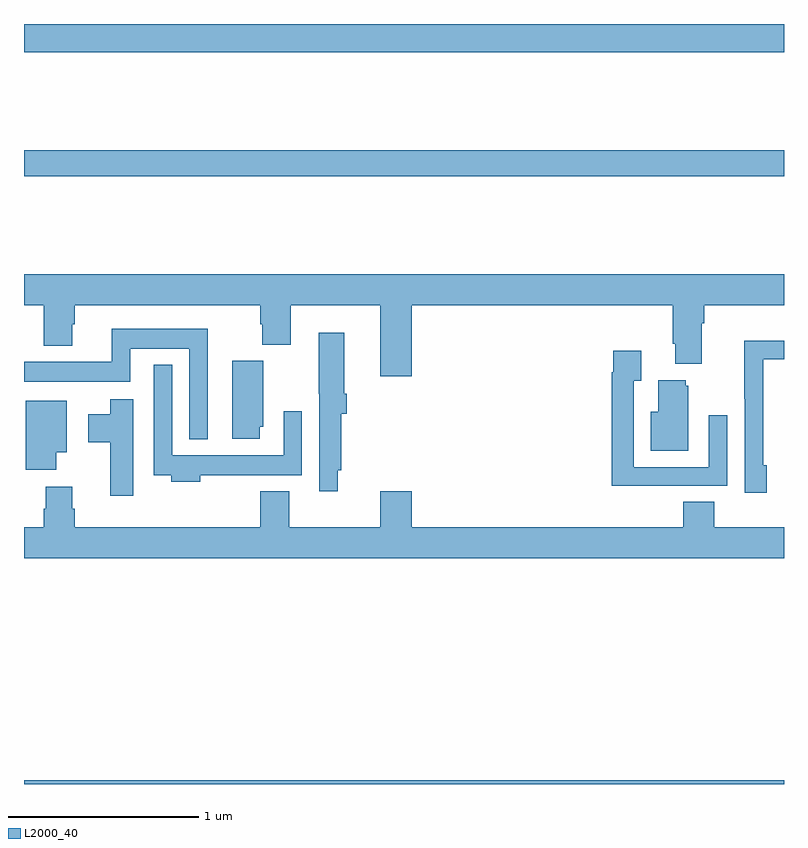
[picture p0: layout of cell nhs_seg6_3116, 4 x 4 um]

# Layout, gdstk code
import gdstk
lib = gdstk.Library(unit=1e-6, precision=1e-09)
def R(c, l, rs):  # rectangles x0, y0, x1, y1
    for r in rs: c.add(gdstk.rectangle(r[:2], r[2:], *l))
def P(c, l, *ps):  # polygons
    for p in ps: c.add(gdstk.Polygon(p, *l))
L2000_40 = (2000, 40)

nhs_seg6_3116 = lib.new_cell('nhs_seg6_3116')
R(nhs_seg6_3116, L2000_40, [(295,927.5,299,927.52), (295,930.7,299,930.836), (295,931.352,299,931.5)])
P(nhs_seg6_3116, L2000_40, [(295,930.02),(295.103,930.02),(295.103,929.807),(295.255,929.807),(295.255,929.919),(295.268,929.919),(295.268,930.02),(296.243,930.02),(296.243,929.921),(296.255,929.921),(296.255,929.812),(296.403,929.812),(296.403,930.02),(296.876,930.02),(296.876,929.646),(297.04,929.646),(297.04,930.02),(298.415,930.02),(298.415,929.818),(298.427,929.818),(298.427,929.711),(298.567,929.711),(298.567,929.924),(298.58,929.924),(298.58,930.02),(299,930.02),(299,930.184),(295,930.184)],
  [(295.966,929.896),(295.463,929.896),(295.463,929.722),(295,929.722),(295,929.618),(295.56,929.618),(295.56,929.792),(295.869,929.792),(295.869,929.315),(295.966,929.315)],
  [(296.652,929.152),(296.669,929.152),(296.669,929.45),(296.699,929.45),(296.699,929.554),(296.686,929.554),(296.686,929.875),(296.552,929.875),(296.552,929.554),(296.553,929.554),(296.553,929.04),(296.652,929.04)],
  [(298.909,929.178),(298.89,929.178),(298.89,929.736),(299,929.736),(299,929.834),(298.792,929.834),(298.792,929.527),(298.794,929.527),(298.794,929.034),(298.909,929.034)],
  [(298.385,929.07),(298.701,929.07),(298.701,929.44),(298.605,929.44),(298.605,929.166),(298.209,929.166),(298.209,929.623),(298.249,929.623),(298.249,929.779),(298.101,929.779),(298.101,929.666),(298.093,929.666),(298.093,929.069),(298.385,929.069)],
  [(296.242,929.379),(296.26,929.379),(296.26,929.727),(296.096,929.727),(296.096,929.316),(296.242,929.316)],
  [(295.928,929.124),(296.159,929.124),(296.159,929.126),(296.463,929.126),(296.463,929.461),(296.367,929.461),(296.367,929.23),(295.779,929.23),(295.779,929.707),(295.683,929.707),(295.683,929.124),(295.775,929.124),(295.775,929.09),(295.928,929.09)],
  [(298.495,929.595),(298.484,929.595),(298.484,929.626),(298.337,929.626),(298.337,929.458),(298.298,929.458),(298.298,929.255),(298.495,929.255)],
  [(295.576,929.524),(295.454,929.524),(295.454,929.446),(295.337,929.446),(295.337,929.299),(295.454,929.299),(295.454,929.016),(295.576,929.016)],
  [(295.171,929.246),(295.225,929.246),(295.225,929.518),(295.01,929.518),(295.01,929.153),(295.171,929.153)],
  [(299,928.852),(298.634,928.852),(298.634,928.985),(298.469,928.985),(298.469,928.852),(297.04,928.852),(297.04,929.041),(296.876,929.041),(296.876,928.852),(296.395,928.852),(296.395,929.041),(296.243,929.041),(296.243,928.852),(295.268,928.852),(295.268,928.95),(295.255,928.95),(295.255,929.065),(295.115,929.065),(295.115,928.95),(295.103,928.95),(295.103,928.852),(295,928.852),(295,928.688),(299,928.688)])

lib.write_gds('nhs_seg6_3116.gds')
